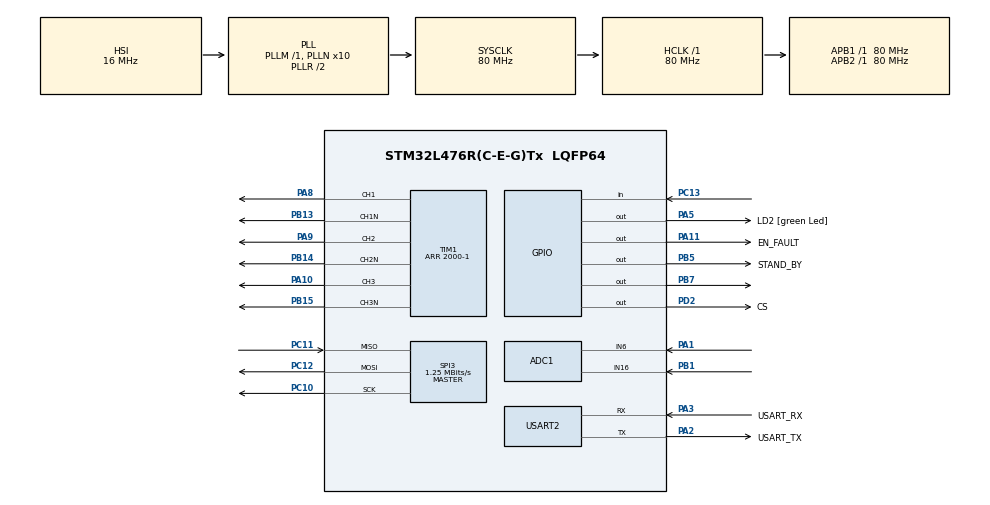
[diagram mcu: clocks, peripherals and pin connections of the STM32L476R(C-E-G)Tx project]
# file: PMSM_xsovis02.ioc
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ADC1.EOCSelection=ADC_EOC_SEQ_CONV
ADC1.EnableInjectedConversion=ENABLE
ADC1.EnableRegularConversion=DISABLE
ADC1.ExternalTrigInjecConv=ADC_EXTERNALTRIGINJEC_T1_TRGO
ADC1.InjMonitoredBy-1\#ChannelInjectedConversion=__NULL
ADC1.InjMonitoredBy-2\#ChannelInjectedConversion=__NULL
ADC1.InjNumberOfConversion=2
ADC1.InjectedChannel-1\#ChannelInjectedConversion=ADC_CHANNEL_6
ADC1.InjectedChannel-2\#ChannelInjectedConversion=ADC_CHANNEL_16
ADC1.InjectedConvMode=None
ADC1.InjectedOffsetNumber-1\#ChannelInjectedConversion=ADC_OFFSET_NONE
ADC1.InjectedOffsetNumber-2\#ChannelInjectedConversion=ADC_OFFSET_NONE
ADC1.InjectedRank-1\#ChannelInjectedConversion=1
ADC1.InjectedRank-2\#ChannelInjectedConversion=2
ADC1.InjectedSamplingTime-1\#ChannelInjectedConversion=ADC_SAMPLETIME_47CYCLES_5
ADC1.InjectedSamplingTime-2\#ChannelInjectedConversion=ADC_SAMPLETIME_47CYCLES_5
ADC1.Rank3_Channel=ADC_CHANNEL_12
ADC1.master=1
Mcu.Family=STM32L4
Mcu.Name=STM32L476R(C-E-G)Tx
Mcu.Package=LQFP64
NVIC.ADC1_2_IRQn=true\:0\:0\:false\:false\:true\:true\:true
NVIC.PriorityGroup=NVIC_PRIORITYGROUP_4
NVIC.TIM1_UP_TIM16_IRQn=true\:0\:0\:false\:false\:true\:true\:true
NVIC.TIM2_IRQn=true\:1\:0\:true\:false\:true\:true\:true
PA1.Signal=ADCx_IN6
PA10.Signal=S_TIM1_CH3
PA11.GPIO_Label=EN_FAULT
PA11.PinState=GPIO_PIN_SET
PA11.Signal=GPIO_Output
PA13\ (JTMS-SWDIO).GPIO_Label=TMS
PA13\ (JTMS-SWDIO).Mode=Serial_Wire
PA13\ (JTMS-SWDIO).Signal=SYS_JTMS-SWDIO
PA14\ (JTCK-SWCLK).GPIO_Label=TCK
PA14\ (JTCK-SWCLK).Mode=Serial_Wire
PA14\ (JTCK-SWCLK).Signal=SYS_JTCK-SWCLK
PA2.GPIO_Label=USART_TX
PA2.GPIO_Mode=GPIO_MODE_AF_PP
PA2.GPIO_PuPd=GPIO_NOPULL
PA2.GPIO_Speed=GPIO_SPEED_FREQ_VERY_HIGH
PA2.Mode=Asynchronous
PA2.Signal=USART2_TX
PA3.GPIO_Label=USART_RX
PA3.GPIO_Mode=GPIO_MODE_AF_PP
PA3.GPIO_PuPd=GPIO_NOPULL
PA3.GPIO_Speed=GPIO_SPEED_FREQ_VERY_HIGH
PA3.Mode=Asynchronous
PA3.Signal=USART2_RX
PA5.GPIO_Label=LD2 [green Led]
PA5.GPIO_ModeDefaultOutputPP=GPIO_MODE_OUTPUT_PP
PA5.GPIO_PuPd=GPIO_NOPULL
PA5.GPIO_Speed=GPIO_SPEED_FREQ_LOW
PA5.Signal=GPIO_Output
PA7.Signal=ADCx_IN12
PA8.Signal=S_TIM1_CH1
PA9.Signal=S_TIM1_CH2
PB0.Signal=ADCx_IN15
PB1.Signal=ADCx_IN16
PB13.Mode=PWM Generation1 CH1 CH1N
PB13.Signal=TIM1_CH1N
PB14.Mode=PWM Generation2 CH2 CH2N
PB14.Signal=TIM1_CH2N
PB15.Mode=PWM Generation3 CH3 CH3N
PB15.Signal=TIM1_CH3N
PB5.GPIO_Label=STAND_BY
PB5.PinState=GPIO_PIN_SET
PB5.Signal=GPIO_Output
PB7.Signal=GPIO_Output
PC10.GPIO_Speed=GPIO_SPEED_FREQ_HIGH
PC10.Mode=Full_Duplex_Master
PC10.Signal=SPI3_SCK
PC11.GPIO_Speed=GPIO_SPEED_FREQ_HIGH
PC11.Mode=Full_Duplex_Master
PC11.Signal=SPI3_MISO
PC12.GPIO_Speed=GPIO_SPEED_FREQ_HIGH
PC12.Mode=Full_Duplex_Master
PC12.Signal=SPI3_MOSI
PC13.Signal=GPIO_Input
PC14-OSC32_IN\ (PC14).Mode=LSE-External-Oscillator
PC14-OSC32_IN\ (PC14).Signal=RCC_OSC32_IN
PC15-OSC32_OUT\ (PC15).Mode=LSE-External-Oscillator
PC15-OSC32_OUT\ (PC15).Signal=RCC_OSC32_OUT
PD2.GPIO_Label=CS
PD2.GPIO_Speed=GPIO_SPEED_FREQ_VERY_HIGH
PD2.PinState=GPIO_PIN_SET
PD2.Signal=GPIO_Output
ProjectManager.HeapSize=0x200
ProjectManager.StackSize=0x400
ProjectManager.TargetToolchain=STM32CubeIDE
RCC.ADCFreq_Value=64000000
RCC.AHBFreq_Value=80000000
RCC.APB1Freq_Value=80000000
RCC.APB1TimFreq_Value=80000000
RCC.APB2Freq_Value=80000000
RCC.APB2TimFreq_Value=80000000
RCC.CortexFreq_Value=80000000
RCC.HCLKFreq_Value=80000000
RCC.HSE_VALUE=8000000
RCC.HSI_VALUE=16000000
RCC.MSI_VALUE=4000000
RCC.PLLN=10
RCC.PLLSourceVirtual=RCC_PLLSOURCE_HSI
RCC.PREFETCH_ENABLE=1
RCC.SYSCLKFreq_VALUE=80000000
RCC.SYSCLKSource=RCC_SYSCLKSOURCE_PLLCLK
RCC.USBFreq_Value=64000000
RCC.VCOOutputFreq_Value=160000000
SH.ADCx_IN12.0=ADC1_IN12
SH.ADCx_IN15.0=ADC1_IN15
SH.ADCx_IN16.0=ADC1_IN16,IN16-Single-Ended
SH.ADCx_IN6.0=ADC1_IN6,IN6-Single-Ended
SH.S_TIM1_CH1.0=TIM1_CH1,PWM Generation1 CH1 CH1N
SH.S_TIM1_CH2.0=TIM1_CH2,PWM Generation2 CH2 CH2N
SH.S_TIM1_CH3.0=TIM1_CH3,PWM Generation3 CH3 CH3N
SPI3.BaudRatePrescaler=SPI_BAUDRATEPRESCALER_64
SPI3.CLKPhase=SPI_PHASE_2EDGE
SPI3.CLKPolarity=SPI_POLARITY_LOW
SPI3.CRCCalculation=SPI_CRCCALCULATION_DISABLE
SPI3.CalculateBaudRate=1.25 MBits/s
SPI3.DataSize=SPI_DATASIZE_16BIT
SPI3.Direction=SPI_DIRECTION_2LINES
SPI3.FirstBit=SPI_FIRSTBIT_MSB
SPI3.Mode=SPI_MODE_MASTER
SPI3.VirtualType=VM_MASTER
TIM1.AutoReloadPreload=TIM_AUTORELOAD_PRELOAD_DISABLE
TIM1.Channel-PWM\ Generation1\ CH1\ CH1N=TIM_CHANNEL_1
TIM1.Channel-PWM\ Generation2\ CH2\ CH2N=TIM_CHANNEL_2
TIM1.Channel-PWM\ Generation3\ CH3\ CH3N=TIM_CHANNEL_3
TIM1.CounterMode=TIM_COUNTERMODE_CENTERALIGNED3
TIM1.DeadTime=50
TIM1.OCFastMode_PWM-PWM\ Generation1\ CH1\ CH1N=TIM_OCFAST_ENABLE
TIM1.OCFastMode_PWM-PWM\ Generation2\ CH2\ CH2N=TIM_OCFAST_ENABLE
TIM1.OCFastMode_PWM-PWM\ Generation3\ CH3\ CH3N=TIM_OCFAST_ENABLE
TIM1.OCMode_PWM-PWM\ Generation1\ CH1\ CH1N=TIM_OCMODE_PWM2
TIM1.OCMode_PWM-PWM\ Generation2\ CH2\ CH2N=TIM_OCMODE_PWM2
TIM1.OCMode_PWM-PWM\ Generation3\ CH3\ CH3N=TIM_OCMODE_PWM2
TIM1.OCNPolarity_1=TIM_OCNPOLARITY_HIGH
TIM1.OCNPolarity_2=TIM_OCNPOLARITY_HIGH
TIM1.OCNPolarity_3=TIM_OCNPOLARITY_HIGH
TIM1.OCPolarity_1=TIM_OCPOLARITY_HIGH
TIM1.OCPolarity_2=TIM_OCPOLARITY_HIGH
TIM1.OCPolarity_3=TIM_OCPOLARITY_HIGH
TIM1.Period=2000-1
TIM1.Pulse-PWM\ Generation1\ CH1\ CH1N=999
TIM1.Pulse-PWM\ Generation2\ CH2\ CH2N=999
TIM1.Pulse-PWM\ Generation3\ CH3\ CH3N=899
TIM1.RepetitionCounter=1
TIM1.TIM_MasterOutputTrigger=TIM_TRGO_UPDATE
TIM2.Period=10000
TIM2.Prescaler=8
TIM2.TIM_MasterOutputTrigger=TIM_TRGO_RESET
USART2.VirtualMode-Asynchronous=VM_ASYNC
VP_TIM1_VS_ClockSourceINT.Mode=Internal
VP_TIM2_VS_ClockSourceINT.Mode=Internal
board=NUCLEO-L476RG

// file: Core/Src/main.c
/* USER CODE BEGIN Header */
/**
  ******************************************************************************
  * @file           : main.c
  * @brief          : Main program body
  * @author			: Jiri Sovis
  ******************************************************************************
  * @attention
  *
  * <h2><center>&copy; Copyright (c) 2020 STMicroelectronics.
  * All rights reserved.</center></h2>
  *
  * This software component is licensed by ST under BSD 3-Clause license,
  * the "License"; You may not use this file except in compliance with the
  * License. You may obtain a copy of the License at:
  *                        opensource.org/licenses/BSD-3-Clause
  *
  ******************************************************************************
  */
/* USER CODE END Header */
#include "main.h"

/* USER CODE BEGIN Includes */
#define ARM_MATH_CM4
#include "arm_math.h"
/* USER CODE END Includes */

/* USER CODE BEGIN PD */
#define offSetValue		817
#define twoPI		 	6.283185f
#define stepTwoPI		5.969026f
#define stepTwoPI2		6.2769f
#define encoderConst 	0.000061035f
#define toRads 	   		0.383519f
#define VFstep			0.314159f // 2PI/20 - 1000Hz
#define VFstep2			0.0062832f // 2PI/1000- 1Hz
#define slopeOme		0.03f
#define slopePos		0.0025f

/* Filter constants-----------------------------------------------------------*/
// LPF filter feedback, cut-off frequency	[450 Hz]
#define a1_lpf 			-0.86776f
#define b1_lpf 			0.06612f
#define b2_lpf 			0.06612f

// LPF filter PLL, cut-off frequency	[50 Hz]
#define a1_lpf_pll 		-0.98441f
#define b1_lpf_pll 		0.00779f
#define b2_lpf_pll 		0.00779f

// BPF filter edge frequencies		[900 Hz, 1100 Hz]
#define a1_bpf_pll 		-1.84507f
#define a2_bpf_pll 		0.93906f
#define b1_bpf_pll 		0.03047f
#define b2_bpf_pll 		0.00000f
#define b3_bpf_pll 		-0.03047f

/* Controllers constants ------------------------------------------------------*/
#define Ki_pll 			0.00027f
#define Kp_pll 			0.07f

#define K_d				4.29398897f
#define Ki_d			0.45000000f
#define K_q				4.29398897f
#define Ki_q			0.45000000f

#define Ki_omega 		0.0616f
#define Kp_omega 		17.6f

#define Kp_fi 			10.0f

/* USER CODE END PD */

ADC_HandleTypeDef hadc1;

SPI_HandleTypeDef hspi3;

TIM_HandleTypeDef htim1;
TIM_HandleTypeDef htim2;

UART_HandleTypeDef huart2;

/* USER CODE BEGIN PV */

// setpoint mA
float SP_id = 0.0f;
float SP_iq = 0.0f;

// measured mA
float PV_id = 0.0f;
float PV_iq = 0.0f;

// calculated mV
float ud = 0.0f;
float uq = 0.0f;

float alpha = 0.0f;
float beta = 0.0f;

// hodnoty v mV
float uA = 0.0f;
float uB = 0.0f;
float uC = 0.0f;

// pi d
float e_d = 0.0f;
float sum_d = 0.0f;

// pi q
float e_q = 0.0f;
float sum_q = 0.0f;

// p speed --------------------------------------
float sum_omega = 0.0f;
float e_omega = 0.0f;
float SP_omega, PV_omega = 0.0f;

// setpoint speed
float SP_speed = 0.0f;
float PV_speed = 0.0f;

// p position --------------------------------
float e_position = 0.0f;
float sum_position = 0.0f;

float SP_position, SP_position_k = 0.0f;
float PV_position = 0.0f;
float PV_position_encod = 0.0f;

uint16_t spiRxBuffer;
uint16_t measureI[3] = {0,0,0}; 	// iA, iB, iC (ADC)
float measA, measB, measC;	    // iA, iB, iC (mA)

int16_t encoder, encoderBefore = 0;
int16_t diff, diffCounter = 0;

float angleRad, cosine = 1.0f, sine = 0.0f, encod;

float measurement[8000];
uint16_t pointer = 0;

// PI PLL
float ypi = 0.0f;
float omega = 0.0f;
float fi, fi_position = 0.0f;

uint32_t state = 0;

// LPF - improved frequency - integration
float ylpf, ylpfk, ulpfk = 0.0f;

// LPF filter for feedback current
float yd,ydk,udk = 0.0f;
float yq,yqk,uqk = 0.0f;

// BPF extract usefull value from iq
float ybpf,ybpfk,ybpfkk,ubpfk,ubpfkk = 0.0f;

float VFsin = 0.0f, VFcos = 0.0f, VFcounter=0.0f;

void HAL_TIM_PeriodElapsedCallback(TIM_HandleTypeDef *htim)
{
	// 1ms period
	if (htim->Instance == TIM2)
	{
		// speed calculation by data from encoder
		PV_speed = (float) diffCounter*toRads; // rad/s
		PV_position_encod = PV_position_encod + ((float) (diffCounter)*toRads)*0.001f;
		diffCounter = 0;

		if(state == 1)
		{
		//PI controller - speed loop
			e_omega = SP_omega - PV_omega;
			sum_omega = Ki_omega*e_omega + sum_omega;

			if (sum_omega > 500.0f)
				sum_omega = 500.0f;
			else if (sum_omega < -500.0f)
				sum_omega = -500.0f;

			SP_iq = Kp_omega*e_omega + sum_omega - Kp_omega*0.2f*PV_omega;

		//P controller - position loop
			PV_position = fi_position*0.091f;

			// ramp
			if (SP_position > SP_position_k)
			{
				SP_position_k = SP_position_k + slopePos;
				if (SP_position_k > SP_position)
				{
					SP_position_k = SP_position;
				}
			}
			else if (SP_position < SP_position_k)
			{
				SP_position_k = SP_position_k - slopePos;
				if (SP_position_k < SP_position)
				{
					SP_position_k = SP_position;
				}
			}

			e_position = SP_position_k - PV_position;

			SP_omega = Kp_fi*e_position;
		}

		// measuring procedure
		if(!HAL_GPIO_ReadPin(GPIOC,GPIO_PIN_13))
		  {
			  if (pointer > 10)
			  {
				  SP_position = 1.0f;
//				  SP_omega = 10.0f;
//				  SP_id = 0.0f;
//				  SP_omega = 10.0f+arm_sin_f32(VFcounter2)*2.0f;
//				  VFcounter2 = VFcounter2 + VFstep2;
//				  		  if (VFcounter2 > stepTwoPI2)
//				  				  VFcounter2 = 0;

			  }
			  measurement[pointer]        = yq;
			  measurement[(1000+pointer)] = SP_omega;
			  measurement[(2000+pointer)] = omega;
			  measurement[(3000+pointer)] = SP_iq;
			  measurement[(4000+pointer)] = PV_speed;
			  measurement[(5000+pointer)] = PV_omega;
			  measurement[(6000+pointer)] = angleRad;
			  measurement[(7000+pointer)] = fi;

			  if (pointer < 1000)
				  pointer++;

		  } else {
				  SP_position = -1.0f;
//			  SP_omega = 0.0f;
//			  sum_omega = 0.0f;
//			  omega= 0.0f;
//			  fi = 0.0f;
//			  ybpf = 0.0f;
//			  ylpf = 0.0f;
//			  pointer = 0;
		  }

	}
}

// 50us period
void HAL_ADCEx_InjectedConvCpltCallback (ADC_HandleTypeDef * hadc)
{
	if (state == 1)
	 {
		HAL_GPIO_WritePin_Fast(GPIOB, GPIO_PIN_7, GPIO_PIN_RESET);

		// current measurement
		measureI[0] = hadc1.Instance->JDR1; // (HAL_ADCEx_InjectedGetValue(&hadc1, ADC_INJECTED_RANK_1));
		measureI[1] = hadc1.Instance->JDR2; // (HAL_ADCEx_InjectedGetValue(&hadc1, ADC_INJECTED_RANK_2));

		// spi communication (AS5048)
		__HAL_SPI_ENABLE(&hspi3);
		HAL_GPIO_WritePin_Fast(GPIOD, GPIO_PIN_2, GPIO_PIN_RESET);

		hspi3.Instance->DR = 0;

		while ((hspi3.Instance->SR & SPI_FLAG_RXNE) == 0){}  	//Wait for Data Ready to Read
		spiRxBuffer = hspi3.Instance->DR;						//Read Data Register Directly

		HAL_GPIO_WritePin_Fast(GPIOD, GPIO_PIN_2, GPIO_PIN_SET);
		__HAL_SPI_DISABLE(&hspi3);

		spiRxBuffer &= 0x3FFE;
		encoder = (0x3FFF - spiRxBuffer) - offSetValue;

		if (encoder > 16383)
		  encoder = encoder - 16383;
		else if (encoder < 0)
		  encoder = 16383 + encoder;

		// modulo % 2PI
		encod = (float) encoder*encoderConst*11.0f; // x / 16384 * 11 (polpar) (0.0 - 11.0)
		angleRad = (encod - (int) encod) * twoPI;	// ((0.0 - 0.99) * 2PI

//		cosine = arm_cos_f32(angleRad);
//		sine = arm_sin_f32(angleRad);

		// signal injection
		VFcos = arm_cos_f32(VFcounter)*2000.0f;
		VFsin = arm_sin_f32(VFcounter);

		// signal injection counter
		VFcounter = VFcounter + VFstep;
		if (VFcounter > stepTwoPI)
			  VFcounter = 0;

		// mechanical speed of rotor
		diff = encoder - encoderBefore;

		// calculation of direction
		if (diff < -12000)
			diff = 16383 - encoderBefore + encoder;
		else if (diff > 12000)
			diff = encoder - 16383 - encoderBefore;

		diffCounter = diffCounter + diff;
		encoderBefore = encoder;

		// current conversion
		measA = ((1.5957f* (float) measureI[0])-3089.72f); 	// iA (mA) measured
		measB = ((1.5957f* (float) measureI[1])-3089.72f); 	// iB (mA) measured
		measC = -measA-measB;								// iC (mA) calculated

		//Direct transformations
		alpha = 0.333f * (2*measA - measB - measC);
		beta  = 0.577f * (measB - measC);

		PV_id = cosine*alpha + sine*beta;
		PV_iq = -sine*alpha + cosine*beta;

		// filtration of d,q current
		yq = -a1_lpf*yqk  + b1_lpf*PV_iq + b2_lpf*uqk;
		yqk = yq;
		uqk = PV_iq;

		yd = -a1_lpf*ydk  + b1_lpf*PV_id + b2_lpf*udk;
		ydk = yd;
		udk = PV_id;

		// PLL calculation -------------------------------------------------------------------------

		// BPF PLL filter
		ybpf = -a1_bpf_pll*ybpfk -a2_bpf_pll*ybpfkk + b1_bpf_pll*yq + b2_bpf_pll*ubpfk + b3_bpf_pll*ubpfkk;
		ybpfk = ybpf;
		ybpfkk = ybpfk;
		ubpfk = yq;
		ubpfkk = ubpfk;

		// demodulation
		ybpf = ybpf * VFsin;

		// LPF PLL filter
		ylpf = -a1_lpf_pll*ylpfk + b1_lpf_pll*ybpf + b2_lpf_pll*ulpfk;
		ylpfk = ylpf;
		ulpfk = ybpf;

		// PI controller PLL
		ypi = Kp_pll*ylpf + omega;
		omega = omega + Ki_pll*ylpf;

		// anti-wind up PLL
		if (omega > 0.01f)
		  omega = 0.01f;
		else if (omega < -0.01f)
		  omega = -0.01f;

		// electrical position of rotor
		fi = fi+ypi;

		if (fi > twoPI)
		  fi = fi-twoPI;
		else if (fi < 0)
		  fi = twoPI+fi;

		cosine = arm_cos_f32(fi);
		sine = arm_sin_f32(fi);

		// mechanical rotor position
		fi_position = fi_position+ypi;

		// mechanical rotor speed
		PV_omega = omega*2000.0f;

		// end PLL calculation -------------------------------------------------------------------------

		//PI current
		e_d = SP_id - yd;
		e_q = SP_iq - yq;

		sum_d = sum_d + e_d*Ki_d;

		// anti wind-up for d
		if (sum_d > 10200.0f)
		  sum_d = 10200.0f;
		else if(sum_d < -10200.0f)
		  sum_d = -10200.0f;

		sum_q = sum_q + e_q*Ki_q;

		// anti wind-up for q
		if (sum_q > 10200.0f)
			sum_q = 10200.0f;
		else if (sum_q < -10200.0f)
			sum_q = -10200.0f;

		// Counted voltages with injection VFcos
		ud = (K_d*e_d + sum_d)+VFcos;
		uq = K_q*e_q + sum_q;

		//Inverse transformation
		alpha = cosine*ud - sine*uq;
		beta  = sine*ud + cosine*uq;

		uA = alpha;

		if(uA < -10200.0f)
		  uA = -10200.0f;
		else if (uA > 10200.0f)
		  uA = 10200.0f;

		uB = (0.866f*beta - 0.5f*alpha);

		if(uB < -10200.0f)
			  uB = -10200.0f;
		else if (uB > 10200.0f)
			  uB = 10200.0f;

		uC = (-0.866f*beta - 0.5f*alpha);

		if(uC < -10200.0f)
			  uC = -10200.0f;
		else if (uC > 10200.0f)
			  uC = 10200.0f;

		// PWM modulation
		htim1.Instance->CCR1 = (uint32_t) (uA*0.08333f+1000.0f);
		htim1.Instance->CCR2 = (uint32_t) (uB*0.08333f+1000.0f);
		htim1.Instance->CCR3 = (uint32_t) (uC*0.08333f+1000.0f);

		HAL_GPIO_WritePin_Fast(GPIOB, GPIO_PIN_7, GPIO_PIN_SET) ;
	 }
 }

/* USER CODE END PV */

void SystemClock_Config(void);
static void MX_GPIO_Init(void);
static void MX_ADC1_Init(void);
static void MX_SPI3_Init(void);
static void MX_TIM1_Init(void);
static void MX_USART2_UART_Init(void);
static void MX_TIM2_Init(void);

int main(void)
{

  /* MCU Configuration--------------------------------------------------------*/

  /* Reset of all peripherals, Initializes the Flash interface and the Systick. */
  HAL_Init();

  /* Configure the system clock */
  SystemClock_Config();

  /* Initialize all configured peripherals */
  MX_GPIO_Init();
  MX_ADC1_Init();
  MX_SPI3_Init();
  MX_TIM1_Init();
  MX_USART2_UART_Init();
  MX_TIM2_Init();
  /* USER CODE BEGIN 2 */

  if(HAL_OK != HAL_ADCEx_Calibration_Start(&hadc1, ADC_SINGLE_ENDED))
	  Error_Handler();

  if(HAL_OK != HAL_ADCEx_InjectedStart_IT(&hadc1))
	  Error_Handler();

  if(HAL_OK != HAL_TIM_Base_Start(&htim1))
 	  Error_Handler();

  if(HAL_OK != HAL_TIM_Base_Start_IT(&htim2))
   	  Error_Handler();

  HAL_TIMEx_PWMN_Start(&htim1, TIM_CHANNEL_1);
  HAL_TIMEx_PWMN_Start(&htim1, TIM_CHANNEL_2);
  HAL_TIMEx_PWMN_Start(&htim1, TIM_CHANNEL_3);
  HAL_TIM_PWM_Start(&htim1, TIM_CHANNEL_1);
  HAL_TIM_PWM_Start(&htim1, TIM_CHANNEL_2);
  HAL_TIM_PWM_Start(&htim1, TIM_CHANNEL_3);

  // initial zeroing
  if(state == 0)
  {
	  ypi = 0.0f;
	  htim1.Instance->CCR1 = 1599;
	  htim1.Instance->CCR2 = 699;
	  htim1.Instance->CCR3 = 699;

	  HAL_Delay(2000);
	  state = 1;
  }

  /* USER CODE END 2 */

  /* Infinite loop */
  while (1)
  {

  }
}

void SystemClock_Config(void)
{
  RCC_OscInitTypeDef RCC_OscInitStruct = {0};
  RCC_ClkInitTypeDef RCC_ClkInitStruct = {0};
  RCC_PeriphCLKInitTypeDef PeriphClkInit = {0};

  /** Initializes the RCC Oscillators according to the specified parameters
  * in the RCC_OscInitTypeDef structure.
  */
  RCC_OscInitStruct.OscillatorType = RCC_OSCILLATORTYPE_HSI;
  RCC_OscInitStruct.HSIState = RCC_HSI_ON;
  RCC_OscInitStruct.HSICalibrationValue = RCC_HSICALIBRATION_DEFAULT;
  RCC_OscInitStruct.PLL.PLLState = RCC_PLL_ON;
  RCC_OscInitStruct.PLL.PLLSource = RCC_PLLSOURCE_HSI;
  RCC_OscInitStruct.PLL.PLLM = 1;
  RCC_OscInitStruct.PLL.PLLN = 10;
  RCC_OscInitStruct.PLL.PLLP = RCC_PLLP_DIV7;
  RCC_OscInitStruct.PLL.PLLQ = RCC_PLLQ_DIV2;
  RCC_OscInitStruct.PLL.PLLR = RCC_PLLR_DIV2;
  if (HAL_RCC_OscConfig(&RCC_OscInitStruct) != HAL_OK)
  {
    Error_Handler();
  }
  /** Initializes the CPU, AHB and APB buses clocks
  */
  RCC_ClkInitStruct.ClockType = RCC_CLOCKTYPE_HCLK|RCC_CLOCKTYPE_SYSCLK
                              |RCC_CLOCKTYPE_PCLK1|RCC_CLOCKTYPE_PCLK2;
  RCC_ClkInitStruct.SYSCLKSource = RCC_SYSCLKSOURCE_PLLCLK;
  RCC_ClkInitStruct.AHBCLKDivider = RCC_SYSCLK_DIV1;
  RCC_ClkInitStruct.APB1CLKDivider = RCC_HCLK_DIV1;
  RCC_ClkInitStruct.APB2CLKDivider = RCC_HCLK_DIV1;

  if (HAL_RCC_ClockConfig(&RCC_ClkInitStruct, FLASH_LATENCY_4) != HAL_OK)
  {
    Error_Handler();
  }
  PeriphClkInit.PeriphClockSelection = RCC_PERIPHCLK_USART2|RCC_PERIPHCLK_ADC;
  PeriphClkInit.Usart2ClockSelection = RCC_USART2CLKSOURCE_PCLK1;
  PeriphClkInit.AdcClockSelection = RCC_ADCCLKSOURCE_PLLSAI1;
  PeriphClkInit.PLLSAI1.PLLSAI1Source = RCC_PLLSOURCE_HSI;
  PeriphClkInit.PLLSAI1.PLLSAI1M = 1;
  PeriphClkInit.PLLSAI1.PLLSAI1N = 8;
  PeriphClkInit.PLLSAI1.PLLSAI1P = RCC_PLLP_DIV7;
  PeriphClkInit.PLLSAI1.PLLSAI1Q = RCC_PLLQ_DIV2;
  PeriphClkInit.PLLSAI1.PLLSAI1R = RCC_PLLR_DIV2;
  PeriphClkInit.PLLSAI1.PLLSAI1ClockOut = RCC_PLLSAI1_ADC1CLK;
  if (HAL_RCCEx_PeriphCLKConfig(&PeriphClkInit) != HAL_OK)
  {
    Error_Handler();
  }
  /** Configure the main internal regulator output voltage
  */
  if (HAL_PWREx_ControlVoltageScaling(PWR_REGULATOR_VOLTAGE_SCALE1) != HAL_OK)
  {
    Error_Handler();
  }
}

static void MX_ADC1_Init(void)
{

  ADC_MultiModeTypeDef multimode = {0};
  ADC_InjectionConfTypeDef sConfigInjected = {0};

  /** Common config
  */
  hadc1.Instance = ADC1;
  hadc1.Init.ClockPrescaler = ADC_CLOCK_ASYNC_DIV1;
  hadc1.Init.Resolution = ADC_RESOLUTION_12B;
  hadc1.Init.DataAlign = ADC_DATAALIGN_RIGHT;
  hadc1.Init.ScanConvMode = ADC_SCAN_ENABLE;
  hadc1.Init.EOCSelection = ADC_EOC_SEQ_CONV;
  hadc1.Init.LowPowerAutoWait = DISABLE;
  hadc1.Init.ContinuousConvMode = DISABLE;
  hadc1.Init.NbrOfConversion = 1;
  hadc1.Init.DiscontinuousConvMode = DISABLE;
  hadc1.Init.DMAContinuousRequests = DISABLE;
  hadc1.Init.Overrun = ADC_OVR_DATA_PRESERVED;
  hadc1.Init.OversamplingMode = DISABLE;
  if (HAL_ADC_Init(&hadc1) != HAL_OK)
  {
    Error_Handler();
  }
  /** Configure the ADC multi-mode
  */
  multimode.Mode = ADC_MODE_INDEPENDENT;
  if (HAL_ADCEx_MultiModeConfigChannel(&hadc1, &multimode) != HAL_OK)
  {
    Error_Handler();
  }
  /** Disable Injected Queue
  */
  HAL_ADCEx_DisableInjectedQueue(&hadc1);
  /** Configure Injected Channel
  */
  sConfigInjected.InjectedChannel = ADC_CHANNEL_6;
  sConfigInjected.InjectedRank = ADC_INJECTED_RANK_1;
  sConfigInjected.InjectedSamplingTime = ADC_SAMPLETIME_47CYCLES_5;
  sConfigInjected.InjectedSingleDiff = ADC_SINGLE_ENDED;
  sConfigInjected.InjectedOffsetNumber = ADC_OFFSET_NONE;
  sConfigInjected.InjectedOffset = 0;
  sConfigInjected.InjectedNbrOfConversion = 2;
  sConfigInjected.InjectedDiscontinuousConvMode = DISABLE;
  sConfigInjected.AutoInjectedConv = DISABLE;
  sConfigInjected.QueueInjectedContext = DISABLE;
  sConfigInjected.ExternalTrigInjecConv = ADC_EXTERNALTRIGINJEC_T1_TRGO;
  sConfigInjected.ExternalTrigInjecConvEdge = ADC_EXTERNALTRIGINJECCONV_EDGE_RISING;
  sConfigInjected.InjecOversamplingMode = DISABLE;
  if (HAL_ADCEx_InjectedConfigChannel(&hadc1, &sConfigInjected) != HAL_OK)
  {
    Error_Handler();
  }
  /** Configure Injected Channel
  */
  sConfigInjected.InjectedChannel = ADC_CHANNEL_16;
  sConfigInjected.InjectedRank = ADC_INJECTED_RANK_2;
  if (HAL_ADCEx_InjectedConfigChannel(&hadc1, &sConfigInjected) != HAL_OK)
  {
    Error_Handler();
  }

}

static void MX_SPI3_Init(void)
{

  /* SPI3 parameter configuration*/
  hspi3.Instance = SPI3;
  hspi3.Init.Mode = SPI_MODE_MASTER;
  hspi3.Init.Direction = SPI_DIRECTION_2LINES;
  hspi3.Init.DataSize = SPI_DATASIZE_16BIT;
  hspi3.Init.CLKPolarity = SPI_POLARITY_LOW;
  hspi3.Init.CLKPhase = SPI_PHASE_2EDGE;
  hspi3.Init.NSS = SPI_NSS_SOFT;
  hspi3.Init.BaudRatePrescaler = SPI_BAUDRATEPRESCALER_64;
  hspi3.Init.FirstBit = SPI_FIRSTBIT_MSB;
  hspi3.Init.TIMode = SPI_TIMODE_DISABLE;
  hspi3.Init.CRCCalculation = SPI_CRCCALCULATION_DISABLE;
  hspi3.Init.CRCPolynomial = 7;
  hspi3.Init.CRCLength = SPI_CRC_LENGTH_DATASIZE;
  hspi3.Init.NSSPMode = SPI_NSS_PULSE_DISABLE;
  if (HAL_SPI_Init(&hspi3) != HAL_OK)
  {
    Error_Handler();
  }

}

static void MX_TIM1_Init(void)
{

  TIM_ClockConfigTypeDef sClockSourceConfig = {0};
  TIM_MasterConfigTypeDef sMasterConfig = {0};
  TIM_OC_InitTypeDef sConfigOC = {0};
  TIM_BreakDeadTimeConfigTypeDef sBreakDeadTimeConfig = {0};

  htim1.Instance = TIM1;
  htim1.Init.Prescaler = 0;
  htim1.Init.CounterMode = TIM_COUNTERMODE_CENTERALIGNED3;
  htim1.Init.Period = 2000-1;
  htim1.Init.ClockDivision = TIM_CLOCKDIVISION_DIV1;
  htim1.Init.RepetitionCounter = 1;
  htim1.Init.AutoReloadPreload = TIM_AUTORELOAD_PRELOAD_DISABLE;
  if (HAL_TIM_Base_Init(&htim1) != HAL_OK)
  {
    Error_Handler();
  }
  sClockSourceConfig.ClockSource = TIM_CLOCKSOURCE_INTERNAL;
  if (HAL_TIM_ConfigClockSource(&htim1, &sClockSourceConfig) != HAL_OK)
  {
    Error_Handler();
  }
  if (HAL_TIM_PWM_Init(&htim1) != HAL_OK)
  {
    Error_Handler();
  }
  sMasterConfig.MasterOutputTrigger = TIM_TRGO_UPDATE;
  sMasterConfig.MasterOutputTrigger2 = TIM_TRGO2_RESET;
  sMasterConfig.MasterSlaveMode = TIM_MASTERSLAVEMODE_DISABLE;
  if (HAL_TIMEx_MasterConfigSynchronization(&htim1, &sMasterConfig) != HAL_OK)
  {
    Error_Handler();
  }
  sConfigOC.OCMode = TIM_OCMODE_PWM2;
  sConfigOC.Pulse = 999;
  sConfigOC.OCPolarity = TIM_OCPOLARITY_HIGH;
  sConfigOC.OCNPolarity = TIM_OCNPOLARITY_HIGH;
  sConfigOC.OCFastMode = TIM_OCFAST_ENABLE;
  sConfigOC.OCIdleState = TIM_OCIDLESTATE_RESET;
  sConfigOC.OCNIdleState = TIM_OCNIDLESTATE_RESET;
  if (HAL_TIM_PWM_ConfigChannel(&htim1, &sConfigOC, TIM_CHANNEL_1) != HAL_OK)
  {
    Error_Handler();
  }
  if (HAL_TIM_PWM_ConfigChannel(&htim1, &sConfigOC, TIM_CHANNEL_2) != HAL_OK)
  {
    Error_Handler();
  }
  sConfigOC.Pulse = 899;
  if (HAL_TIM_PWM_ConfigChannel(&htim1, &sConfigOC, TIM_CHANNEL_3) != HAL_OK)
  {
    Error_Handler();
  }
  sBreakDeadTimeConfig.OffStateRunMode = TIM_OSSR_DISABLE;
  sBreakDeadTimeConfig.OffStateIDLEMode = TIM_OSSI_DISABLE;
  sBreakDeadTimeConfig.LockLevel = TIM_LOCKLEVEL_OFF;
  sBreakDeadTimeConfig.DeadTime = 50;
  sBreakDeadTimeConfig.BreakState = TIM_BREAK_DISABLE;
  sBreakDeadTimeConfig.BreakPolarity = TIM_BREAKPOLARITY_HIGH;
  sBreakDeadTimeConfig.BreakFilter = 0;
  sBreakDeadTimeConfig.Break2State = TIM_BREAK2_DISABLE;
  sBreakDeadTimeConfig.Break2Polarity = TIM_BREAK2POLARITY_HIGH;
  sBreakDeadTimeConfig.Break2Filter = 0;
  sBreakDeadTimeConfig.AutomaticOutput = TIM_AUTOMATICOUTPUT_DISABLE;
  if (HAL_TIMEx_ConfigBreakDeadTime(&htim1, &sBreakDeadTimeConfig) != HAL_OK)
  {
    Error_Handler();
  }
  HAL_TIM_MspPostInit(&htim1);

}

static void MX_TIM2_Init(void)
{

  TIM_ClockConfigTypeDef sClockSourceConfig = {0};
  TIM_MasterConfigTypeDef sMasterConfig = {0};

  htim2.Instance = TIM2;
  htim2.Init.Prescaler = 8;
  htim2.Init.CounterMode = TIM_COUNTERMODE_UP;
  htim2.Init.Period = 10000;
  htim2.Init.ClockDivision = TIM_CLOCKDIVISION_DIV1;
  htim2.Init.AutoReloadPreload = TIM_AUTORELOAD_PRELOAD_DISABLE;
  if (HAL_TIM_Base_Init(&htim2) != HAL_OK)
  {
    Error_Handler();
  }
  sClockSourceConfig.ClockSource = TIM_CLOCKSOURCE_INTERNAL;
  if (HAL_TIM_ConfigClockSource(&htim2, &sClockSourceConfig) != HAL_OK)
  {
    Error_Handler();
  }
  sMasterConfig.MasterOutputTrigger = TIM_TRGO_RESET;
  sMasterConfig.MasterSlaveMode = TIM_MASTERSLAVEMODE_DISABLE;
  if (HAL_TIMEx_MasterConfigSynchronization(&htim2, &sMasterConfig) != HAL_OK)
  {
    Error_Handler();
  }

}

static void MX_USART2_UART_Init(void)
{

  huart2.Instance = USART2;
  huart2.Init.BaudRate = 115200;
  huart2.Init.WordLength = UART_WORDLENGTH_8B;
  huart2.Init.StopBits = UART_STOPBITS_1;
  huart2.Init.Parity = UART_PARITY_NONE;
  huart2.Init.Mode = UART_MODE_TX_RX;
  huart2.Init.HwFlowCtl = UART_HWCONTROL_NONE;
  huart2.Init.OverSampling = UART_OVERSAMPLING_16;
  huart2.Init.OneBitSampling = UART_ONE_BIT_SAMPLE_DISABLE;
  huart2.AdvancedInit.AdvFeatureInit = UART_ADVFEATURE_NO_INIT;
  if (HAL_UART_Init(&huart2) != HAL_OK)
  {
    Error_Handler();
  }

}

static void MX_GPIO_Init(void)
{
  GPIO_InitTypeDef GPIO_InitStruct = {0};

  /* GPIO Ports Clock Enable */
  __HAL_RCC_GPIOC_CLK_ENABLE();
  __HAL_RCC_GPIOA_CLK_ENABLE();
  __HAL_RCC_GPIOB_CLK_ENABLE();
  __HAL_RCC_GPIOD_CLK_ENABLE();

  /*Configure GPIO pin Output Level */
  HAL_GPIO_WritePin(LD2_GPIO_Port, LD2_Pin, GPIO_PIN_RESET);

  /*Configure GPIO pin Output Level */
  HAL_GPIO_WritePin(EN_FAULT_GPIO_Port, EN_FAULT_Pin, GPIO_PIN_SET);

  /*Configure GPIO pin Output Level */
  HAL_GPIO_WritePin(CS_GPIO_Port, CS_Pin, GPIO_PIN_SET);

  /*Configure GPIO pin Output Level */
  HAL_GPIO_WritePin(STAND_BY_GPIO_Port, STAND_BY_Pin, GPIO_PIN_SET);

  /*Configure GPIO pin Output Level */
  HAL_GPIO_WritePin(GPIOB, GPIO_PIN_7, GPIO_PIN_RESET);

  /*Configure GPIO pin : PC13 */
  GPIO_InitStruct.Pin = GPIO_PIN_13;
  GPIO_InitStruct.Mode = GPIO_MODE_INPUT;
  GPIO_InitStruct.Pull = GPIO_NOPULL;
  HAL_GPIO_Init(GPIOC, &GPIO_InitStruct);

  /*Configure GPIO pins : LD2_Pin EN_FAULT_Pin */
  GPIO_InitStruct.Pin = LD2_Pin|EN_FAULT_Pin;
  GPIO_InitStruct.Mode = GPIO_MODE_OUTPUT_PP;
  GPIO_InitStruct.Pull = GPIO_NOPULL;
  GPIO_InitStruct.Speed = GPIO_SPEED_FREQ_LOW;
  HAL_GPIO_Init(GPIOA, &GPIO_InitStruct);

  /*Configure GPIO pin : CS_Pin */
  GPIO_InitStruct.Pin = CS_Pin;
  GPIO_InitStruct.Mode = GPIO_MODE_OUTPUT_PP;
  GPIO_InitStruct.Pull = GPIO_NOPULL;
  GPIO_InitStruct.Speed = GPIO_SPEED_FREQ_VERY_HIGH;
  HAL_GPIO_Init(CS_GPIO_Port, &GPIO_InitStruct);

  /*Configure GPIO pins : STAND_BY_Pin PB7 */
  GPIO_InitStruct.Pin = STAND_BY_Pin|GPIO_PIN_7;
  GPIO_InitStruct.Mode = GPIO_MODE_OUTPUT_PP;
  GPIO_InitStruct.Pull = GPIO_NOPULL;
  GPIO_InitStruct.Speed = GPIO_SPEED_FREQ_LOW;
  HAL_GPIO_Init(GPIOB, &GPIO_InitStruct);

}

/* USER CODE BEGIN 4 */

void HAL_GPIO_WritePin_Fast(GPIO_TypeDef* GPIOx, uint16_t GPIO_Pin, GPIO_PinState PinState)
{
    if(PinState != GPIO_PIN_RESET)
    	GPIOx->BSRR = GPIO_Pin;
    else
        GPIOx->BSRR = (uint32_t)GPIO_Pin << 16U;
}

__weak void HAL_Delay(uint32_t Delay)
{
  uint32_t tickstart = HAL_GetTick();
  uint32_t wait = Delay;

  /* Add a period to guaranty minimum wait */
  if (wait < HAL_MAX_DELAY)
  {
    wait++;
  }

  while((HAL_GetTick() - tickstart) < wait)
  {
  }
}
/* USER CODE END 4 */

void Error_Handler(void)
{
  __disable_irq();
  while (1)
  {
  }
}

/************************ (C) COPYRIGHT STMicroelectronics *****END OF FILE****/
